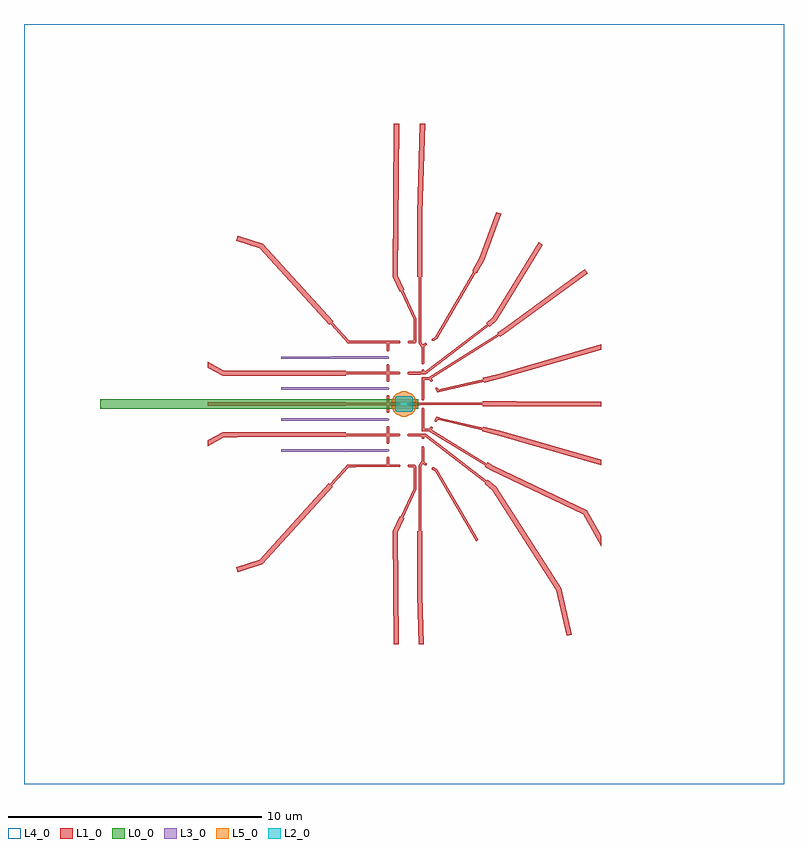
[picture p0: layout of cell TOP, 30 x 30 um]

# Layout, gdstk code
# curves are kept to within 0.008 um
import gdstk
lib = gdstk.Library(unit=1e-6, precision=1e-09)
def R(c, l, rs):  # rectangles x0, y0, x1, y1
    for r in rs: c.add(gdstk.rectangle(r[:2], r[2:], *l))
def P(c, l, *ps):  # polygons
    for p in ps: c.add(gdstk.Polygon(p, *l))
L0_0 = (0, 0)
L1_0 = (1, 0)
L2_0 = (2, 0)
L3_0 = (3, 0)
L4_0 = (4, 0)
L5_0 = (5, 0)

top = lib.new_cell('TOP')
R(top, L0_0, [(-12,-0.196,0.566,0.192)])
P(top, L1_0, [(2.844,-5.415),(1.236,-2.66),(1.105,-2.577),(1.097,-2.547),(1.12,-2.507),(1.166,-2.502),(1.308,-2.586),(2.93,-5.365)],
  [(-0.412,-9.481),(-0.449,-5.02),(-0.168,-4.423),(-0.128,-4.442),(0.379,-3.347),(0.383,-2.496),(0.192,-2.491),(0.168,-2.48),(0.15,-2.445),(0.161,-2.408),(0.182,-2.393),(0.402,-2.39),(0.463,-2.431),(0.484,-2.484),(0.484,-3.361),(-0.037,-4.486),(0.012,-4.509),(-0.249,-5.064),(-0.212,-9.481)],
  [(-6.571,-6.634),(-6.631,-6.444),(-5.701,-6.146),(-2.963,-3.126),(-2.926,-3.16),(-2.22,-2.387),(-0.686,-2.392),(-0.686,-2.133),(-0.667,-2.1),(-0.629,-2.09),(-0.605,-2.1),(-0.586,-2.133),(-0.586,-2.392),(-0.193,-2.392),(-0.156,-2.419),(-0.156,-2.465),(-0.193,-2.492),(-2.176,-2.487),(-2.851,-3.227),(-2.815,-3.26),(-5.589,-6.32)],
  [(0.581,-9.481),(0.52,-7.529),(0.526,-5.031),(0.578,-5.031),(0.588,-3.317),(0.578,-2.419),(0.693,-2.241),(0.694,-1.718),(0.708,-1.69),(0.752,-1.676),(0.78,-1.69),(0.794,-1.718),(0.788,-2.28),(0.878,-2.332),(0.897,-2.374),(0.874,-2.414),(0.844,-2.422),(0.733,-2.364),(0.678,-2.449),(0.688,-3.317),(0.678,-5.031),(0.726,-5.031),(0.72,-7.527),(0.781,-9.481)],
  [(6.429,-9.156),(6.011,-7.359),(3.49,-3.399),(3.184,-3.147),(3.212,-3.113),(0.824,-1.277),(0.797,-1.277),(0.797,-1.333),(0.783,-1.361),(0.739,-1.375),(0.703,-1.348),(0.697,-1.276),(0.178,-1.276),(0.15,-1.262),(0.136,-1.234),(0.15,-1.19),(0.178,-1.176),(0.858,-1.177),(3.276,-3.035),(3.31,-2.993),(3.642,-3.265),(6.199,-7.281),(6.623,-9.11)],
  [(-7.739,-1.667),(-7.739,-1.438),(-7.163,-1.115),(-2.29,-1.119),(-2.29,-1.169),(-0.686,-1.169),(-0.686,-0.914),(-0.667,-0.881),(-0.629,-0.871),(-0.605,-0.881),(-0.586,-0.914),(-0.586,-1.169),(-0.198,-1.169),(-0.171,-1.18),(-0.152,-1.214),(-0.164,-1.251),(-0.198,-1.269),(-0.586,-1.269),(-0.586,-1.527),(-0.596,-1.551),(-0.629,-1.57),(-0.667,-1.56),(-0.686,-1.527),(-0.686,-1.269),(-2.29,-1.269),(-2.29,-1.319),(-7.111,-1.315)],
  [(7.79,-2.415),(3.751,-1.251),(3.08,-1.085),(3.092,-1.036),(1.33,-0.615),(1.283,-0.687),(1.238,-0.692),(1.207,-0.657),(1.209,-0.626),(1.267,-0.526),(1.316,-0.504),(1.475,-0.553),(3.117,-0.937),(3.129,-0.889),(3.804,-1.055),(7.79,-2.204)],
  [(7.79,-5.613),(7.07,-4.346),(3.431,-2.62),(3.196,-2.481),(3.223,-2.436),(0.983,-1.074),(0.694,-1.075),(0.694,-0.199),(0.704,-0.175),(0.725,-0.159),(0.767,-0.159),(0.798,-0.199),(0.798,-0.975),(1.003,-0.974),(1.05,-0.904),(1.095,-0.898),(1.119,-0.918),(1.127,-0.948),(1.09,-1.022),(3.274,-2.349),(3.298,-2.309),(3.525,-2.444),(7.212,-4.192),(7.79,-5.209)],
  [(7.79,-0.105),(4.439,-0.088),(3.109,-0.093),(3.109,-0.045),(0.178,-0.056),(0.15,-0.042),(0.136,0.002),(0.15,0.03),(0.178,0.044),(3.109,0.055),(3.109,0.107),(4.439,0.112),(7.79,0.095)],
  [(-0.643,-0.349),(-0.667,-0.339),(-0.686,-0.306),(-0.686,-0.049),(-2.29,-0.049),(-2.29,-0.074),(-7.739,-0.064),(-7.739,0.086),(-2.29,0.076),(-2.29,0.051),(-0.686,0.051),(-0.686,0.307),(-0.667,0.34),(-0.629,0.35),(-0.605,0.34),(-0.586,0.307),(-0.586,0.051),(-0.198,0.051),(-0.164,0.033),(-0.152,-0.004),(-0.171,-0.038),(-0.198,-0.049),(-0.586,-0.049),(-0.586,-0.306),(-0.605,-0.339)],
  [(1.351,0.454),(1.304,0.475),(1.246,0.575),(1.244,0.606),(1.275,0.641),(1.32,0.636),(1.367,0.564),(3.128,0.984),(3.118,1.037),(3.789,1.203),(7.79,2.356),(7.79,2.146),(3.838,1.007),(3.163,0.841),(3.152,0.887),(1.51,0.503)],
  [(-0.643,0.87),(-0.667,0.88),(-0.686,0.913),(-0.686,1.171),(-2.29,1.171),(-2.29,1.121),(-7.163,1.117),(-7.739,1.44),(-7.739,1.669),(-7.111,1.317),(-2.29,1.321),(-2.29,1.271),(-0.686,1.271),(-0.686,1.526),(-0.667,1.559),(-0.629,1.569),(-0.605,1.559),(-0.586,1.526),(-0.586,1.271),(-0.198,1.271),(-0.164,1.253),(-0.152,1.216),(-0.171,1.182),(-0.198,1.171),(-0.586,1.171),(-0.586,0.913),(-0.605,0.88)],
  [(0.737,0.147),(0.713,0.157),(0.694,0.19),(0.694,1.062),(0.983,1.061),(3.712,2.772),(3.681,2.815),(7.134,5.325),(7.252,5.163),(3.797,2.651),(3.769,2.69),(1.09,1.01),(1.127,0.935),(1.119,0.905),(1.095,0.885),(1.05,0.891),(1.003,0.961),(0.798,0.962),(0.798,0.19),(0.779,0.157)],
  [(0.178,1.164),(0.15,1.178),(0.136,1.206),(0.141,1.237),(0.163,1.259),(0.697,1.264),(0.703,1.336),(0.739,1.363),(0.783,1.349),(0.797,1.321),(0.797,1.265),(0.824,1.265),(3.278,3.151),(3.245,3.186),(3.494,3.426),(5.315,6.388),(5.485,6.284),(3.652,3.3),(3.383,3.042),(3.348,3.079),(0.858,1.165)],
  [(-0.643,2.089),(-0.667,2.099),(-0.686,2.132),(-0.686,2.392),(-2.206,2.387),(-2.912,3.16),(-2.949,3.126),(-5.687,6.146),(-6.617,6.444),(-6.557,6.634),(-5.575,6.32),(-2.801,3.26),(-2.837,3.227),(-2.162,2.487),(-0.189,2.492),(-0.161,2.478),(-0.147,2.45),(-0.161,2.406),(-0.189,2.392),(-0.586,2.392),(-0.586,2.132),(-0.605,2.099)],
  [(1.15,2.487),(1.109,2.505),(1.097,2.535),(1.105,2.565),(1.236,2.648),(2.742,5.229),(2.702,5.251),(2.978,5.751),(3.641,7.571),(3.829,7.503),(3.16,5.667),(2.876,5.155),(2.829,5.181),(1.308,2.574)],
  [(0.736,1.565),(0.708,1.579),(0.694,1.607),(0.693,2.229),(0.578,2.407),(0.588,3.305),(0.578,5.019),(0.526,5.019),(0.52,7.517),(0.631,11.07),(0.832,11.07),(0.72,7.515),(0.726,5.019),(0.678,5.019),(0.688,3.305),(0.678,2.437),(0.733,2.352),(0.844,2.41),(0.874,2.402),(0.897,2.362),(0.878,2.32),(0.788,2.268),(0.794,1.607),(0.78,1.579)],
  [(0.406,2.39),(0.186,2.393),(0.165,2.408),(0.154,2.445),(0.172,2.48),(0.196,2.491),(0.387,2.496),(0.383,3.347),(-0.124,4.442),(-0.164,4.423),(-0.445,5.02),(-0.395,11.07),(-0.196,11.07),(-0.245,5.064),(0.016,4.509),(-0.034,4.485),(0.483,3.369),(0.488,2.484),(0.467,2.431)])
P(top, L2_0, [(-0.297,-0.3),(-0.321,-0.29),(-0.34,-0.257),(-0.34,0.257),(-0.321,0.29),(-0.297,0.3),(0.297,0.3),(0.33,0.281),(0.34,0.257),(0.34,-0.257),(0.321,-0.29),(0.297,-0.3)])
P(top, L3_0, [(-4.841,1.775),(-4.841,1.875),(-2.328,1.878),(-2.328,1.778)],
  [(-2.729,0.556),(-4.841,0.566),(-4.841,0.666),(-2.729,0.656)],
  [(-4.841,-0.667),(-4.841,-0.567),(-2.729,-0.564),(-2.729,-0.664)],
  [(-2.309,-1.896),(-4.841,-1.893),(-4.841,-1.793),(-2.309,-1.796)],
  [(-2.848,1.778),(-2.848,1.878),(-0.638,1.878),(-0.611,1.867),(-0.592,1.833),(-0.604,1.796),(-0.638,1.778)],
  [(-2.848,-1.882),(-2.848,-1.782),(-0.638,-1.782),(-0.611,-1.793),(-0.592,-1.827),(-0.604,-1.864),(-0.638,-1.882)],
  [(-2.848,-0.662),(-2.848,-0.562),(-0.638,-0.562),(-0.611,-0.573),(-0.592,-0.607),(-0.604,-0.644),(-0.638,-0.662)],
  [(-2.848,0.558),(-2.848,0.658),(-0.638,0.658),(-0.611,0.647),(-0.592,0.613),(-0.604,0.576),(-0.638,0.558)])
R(top, L4_0, [(-15,-15,15,15)])
P(top, L5_0, [(-0.025,-0.5),(-0.122,-0.486),(-0.214,-0.453),(-0.336,-0.371),(-0.402,-0.298),(-0.453,-0.214),(-0.496,-0.064),(0.496,-0.064),(0.453,-0.214),(0.402,-0.298),(0.336,-0.371),(0.257,-0.429),(0.169,-0.471),(0.073,-0.495)],
  [(-0.496,0.064),(-0.453,0.214),(-0.402,0.298),(-0.336,0.371),(-0.214,0.453),(-0.122,0.486),(-0.025,0.5),(0.073,0.495),(0.169,0.471),(0.257,0.429),(0.336,0.371),(0.402,0.298),(0.453,0.214),(0.496,0.064)])

lib.write_gds('TOP.gds')
